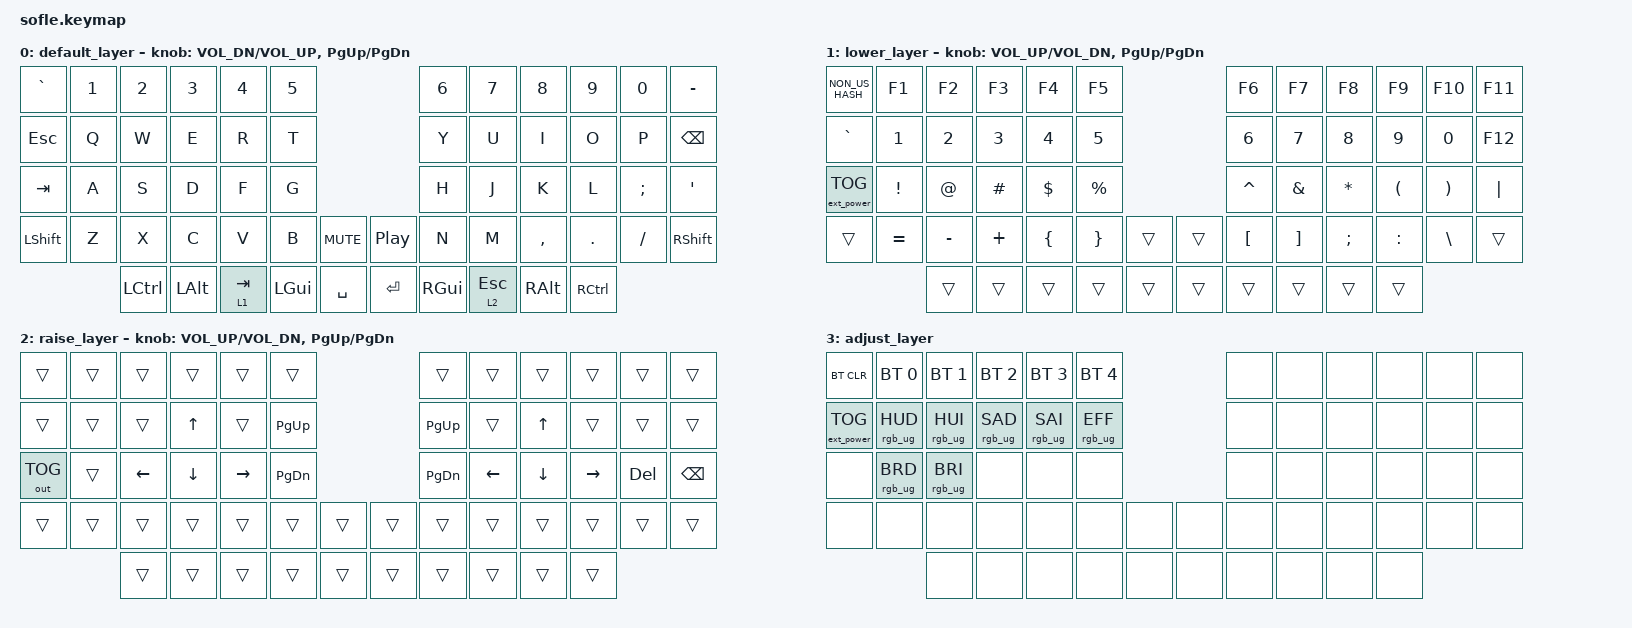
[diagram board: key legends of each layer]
/*
 * Copyright (c) 2020 The ZMK Contributors
 *
 * SPDX-License-Identifier: MIT
 */

#include <behaviors.dtsi>
#include <dt-bindings/zmk/bt.h>
#include <dt-bindings/zmk/ext_power.h>
#include <dt-bindings/zmk/keys.h>
#include <dt-bindings/zmk/outputs.h>
#include <dt-bindings/zmk/rgb.h>

#define BASE 0
#define LOWER 1
#define RAISE 2
#define ADJUST 3

/ {
    // Activate ADJUST layer by pressing raise and lower

    conditional_layers {
        compatible = "zmk,conditional-layers";

        adjust_layer {
            if-layers = <LOWER RAISE>;
            then-layer = <ADJUST>;
        };
    };

    keymap {
        compatible = "zmk,keymap";

        default_layer {
            // ------------------------------------------------------------------------------------------------------------
            // |   `   |  1  |  2  |  3   |  4   |  5   |                   |  6   |  7    |  8    |  9   |   0   |       |
            // |  ESC  |  Q  |  W  |  E   |  R   |  T   |                   |  Y   |  U    |  I    |  O   |   P   | BKSPC |
            // |  TAB  |  A  |  S  |  D   |  F   |  G   |                   |  H   |  J    |  K    |  L   |   ;   |   '   |
            // | SHIFT |  Z  |  X  |  C   |  V   |  B   |  MUTE  |  |       |  N   |  M    |  ,    |  .   |   /   | SHIFT |
            //               | GUI | ALT  | CTRL | LOWER|  ENTER |  | SPACE | RAISE| CTRL  | ALT   | GUI  |

            bindings = <
&kp GRAVE  &kp N1  &kp N2            &kp N3    &kp N4     &kp N5                                        &kp N6         &kp N7        &kp N8     &kp N9             &kp N0    &kp MINUS
&kp ESC    &kp Q   &kp W             &kp E     &kp R      &kp T                                         &kp Y          &kp U         &kp I      &kp O              &kp P     &kp BSPC
&kp TAB    &kp A   &kp S             &kp D     &kp F      &kp G                                         &kp H          &kp J         &kp K      &kp L              &kp SEMI  &kp SQT
&kp LSHFT  &kp Z   &kp X             &kp C     &kp V      &kp B         &kp C_MUTE    &kp C_PLAY_PAUSE  &kp N          &kp M         &kp COMMA  &kp DOT            &kp FSLH  &kp RSHFT
                   &kp LEFT_CONTROL  &kp LALT  &lt 1 TAB  &kp LEFT_GUI  &kp SPACE     &kp ENTER         &kp RIGHT_GUI  &lt 2 ESCAPE  &kp RALT   &kp RIGHT_CONTROL
            >;

            sensor-bindings =
                <&inc_dec_kp C_VOL_DN C_VOL_UP>,
                <&inc_dec_kp PG_UP PG_DN>;
        };

        lower_layer {
            // TODO: Some binds are waiting for shifted keycode support.
            // ------------------------------------------------------------------------------------------------------------
            // |       |  F1 |  F2 |  F3  |  F4  |  F5  |                   |  F6  |  F7   |  F8   |  F9  |  F10  |  F11  |
            // |   `   |  1  |  2  |  3   |  4   |  5   |                   |  6   |  7    |  8    |  9   |   0   |  F12  |
            // |       |  !  |  @  |  #   |  $   |  %   |                   |  ^   |  &    |  *    |  (   |   )   |   |   |
            // |       |  =  |  -  |  +   |  {   |  }   |        |  |       |  [   |  ]    |  ;    |  :   |   \   |       |
            //               |     |      |      |      |        |  |       |      |       |       |      |

            bindings = <
&kp NON_US_HASH    &kp F1     &kp F2     &kp F3    &kp F4    &kp F5                       &kp F6     &kp F7    &kp F8     &kp F9     &kp F10   &kp F11
&kp GRAVE          &kp N1     &kp N2     &kp N3    &kp N4    &kp N5                       &kp N6     &kp N7    &kp N8     &kp N9     &kp N0    &kp F12
&ext_power EP_TOG  &kp EXCL   &kp AT     &kp HASH  &kp DLLR  &kp PRCNT                    &kp CARET  &kp AMPS  &kp ASTRK  &kp LPAR   &kp RPAR  &kp PIPE
&trans             &kp EQUAL  &kp MINUS  &kp PLUS  &kp LBRC  &kp RBRC   &trans    &trans  &kp LBKT   &kp RBKT  &kp SEMI   &kp COLON  &kp BSLH  &trans
                              &trans     &trans    &trans    &trans     &trans    &trans  &trans     &trans    &trans     &trans
            >;

            sensor-bindings = <&inc_dec_kp C_VOL_UP C_VOL_DN &inc_dec_kp PG_UP PG_DN>;
        };

        raise_layer {
            // ------------------------------------------------------------------------------------------------------------
            // | BTCLR | BT1  | BT2  |  BT3  |  BT4  |  BT5 |                |      |      |       |      |       |       |
            // |       | INS  | PSCR | GUI   |       |      |                | PGUP |      |   ^   |      |       |       |
            // |       | ALT  | CTRL | SHIFT |       | CAPS |                | PGDN |   <- |   v   |  ->  |  DEL  | BKSPC |
            // |       | UNDO | CUT  | COPY  | PASTE |      |      |  |      |      |      |       |      |       |       |
            //                |      |       |       |      |      |  |      |      |      |       |      |

            bindings = <
&trans        &trans  &trans          &trans        &trans           &trans                       &trans     &trans    &trans    &trans     &trans   &trans
&trans        &trans  &trans          &kp UP_ARROW  &trans           &kp PG_UP                    &kp PG_UP  &trans    &kp UP    &trans     &trans   &trans
&out OUT_TOG  &trans  &kp LEFT_ARROW  &kp DOWN      &kp RIGHT_ARROW  &kp PG_DN                    &kp PG_DN  &kp LEFT  &kp DOWN  &kp RIGHT  &kp DEL  &kp BSPC
&trans        &trans  &trans          &trans        &trans           &trans     &trans    &trans  &trans     &trans    &trans    &trans     &trans   &trans
                      &trans          &trans        &trans           &trans     &trans    &trans  &trans     &trans    &trans    &trans
            >;

            sensor-bindings = <&inc_dec_kp C_VOL_UP C_VOL_DN &inc_dec_kp PG_UP PG_DN>;
        };

        adjust_layer {
            // ----------------------------------------------------------------------------------------------------------------------------
            // | BTCLR  |  BT1    |  BT2    |   BT3   |   BT4   |   BT5   |                  |      |      |       |      |       |       |
            // | EXTPWR | RGB_HUD | RGB_HUI | RGB_SAD | RGB_SAI | RGB_EFF |                  |      |      |       |      |       |       |
            // |        | RGB_BRD | RGB_BRI |         |         |         |                  |      |      |       |      |       |       |
            // |        |         |         |         |         |         | RGB_TOG | |      |      |      |       |      |       |       |
            //                    |         |         |         |         |         | |      |      |      |       |      |

            bindings = <
&bt BT_CLR         &bt BT_SEL 0     &bt BT_SEL 1     &bt BT_SEL 2     &bt BT_SEL 3     &bt BT_SEL 4                     &none  &none  &none  &none  &none  &none
&ext_power EP_TOG  &rgb_ug RGB_HUD  &rgb_ug RGB_HUI  &rgb_ug RGB_SAD  &rgb_ug RGB_SAI  &rgb_ug RGB_EFF                  &none  &none  &none  &none  &none  &none
&none              &rgb_ug RGB_BRD  &rgb_ug RGB_BRI  &none            &none            &none                            &none  &none  &none  &none  &none  &none
&none              &none            &none            &none            &none            &none            &none    &none  &none  &none  &none  &none  &none  &none
                                    &none            &none            &none            &none            &none    &none  &none  &none  &none  &none
            >;
        };

        extra1 { status = "reserved"; };

        extra2 { status = "reserved"; };

        extra3 { status = "reserved"; };

        extra4 { status = "reserved"; };
    };
};
